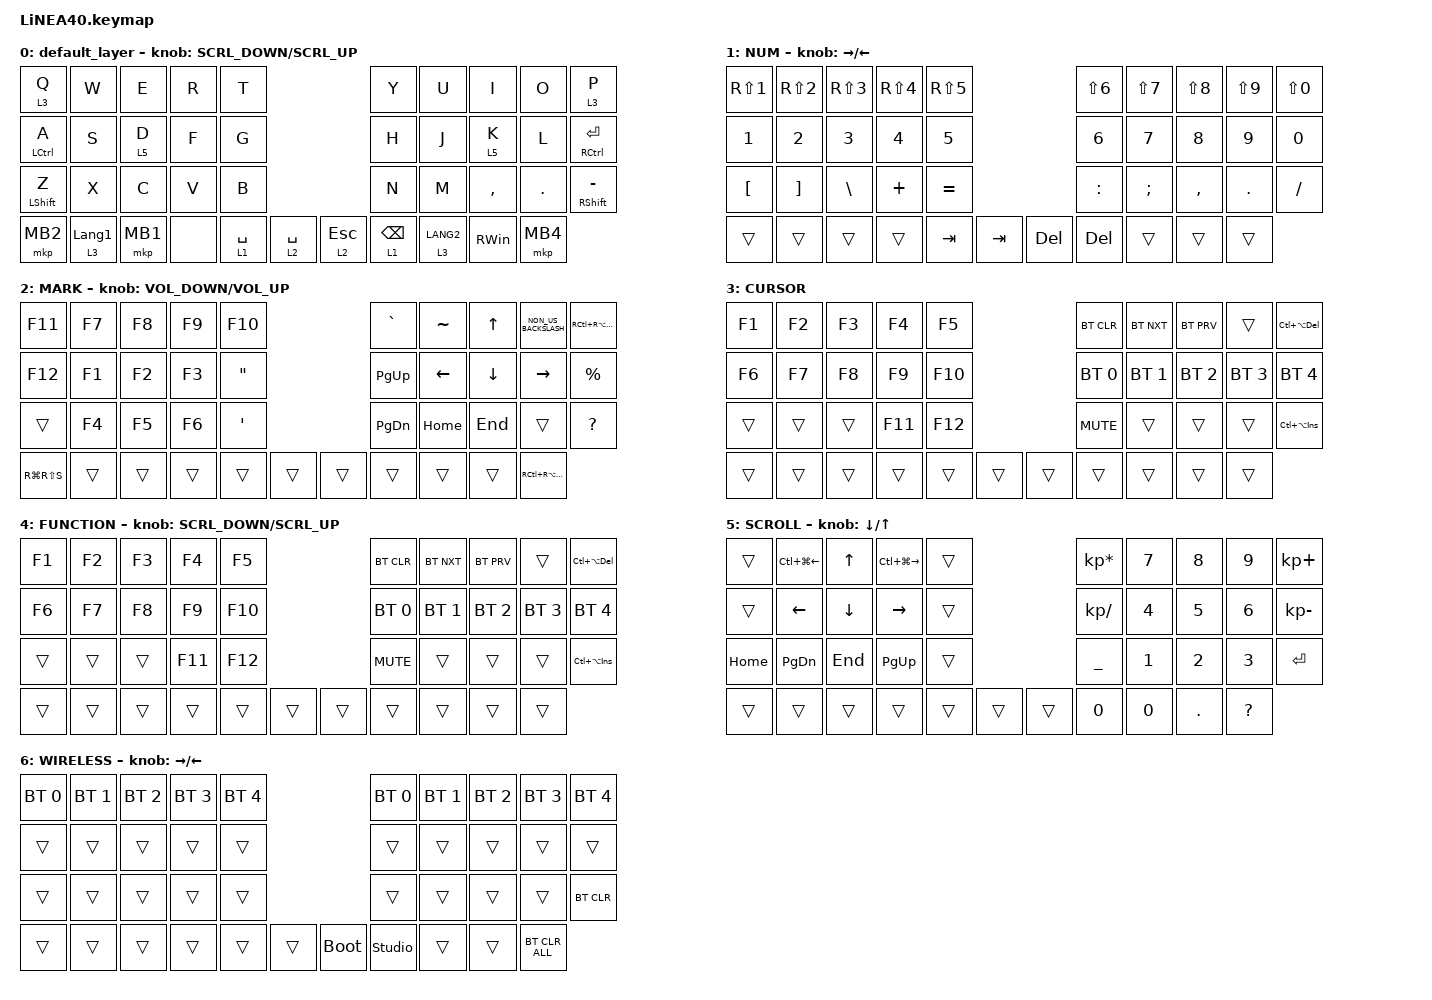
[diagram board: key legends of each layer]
#define ZMK_POINTING_DEFAULT_SCRL_VAL 150

#include <dt-bindings/zmk/input_transform.h>
#include <input/processors.dtsi>
#include <zephyr/dt-bindings/input/input-event-codes.h>
#include <behaviors.dtsi>
#include <dt-bindings/zmk/bt.h>
#include <dt-bindings/zmk/keys.h>
#include <dt-bindings/zmk/pointing.h>

#define NUM 1
#define MARK 2
#define CURSOR 3
#define FUNCTION 4
#define SCROLL 5
#define WIRELESS 6

&mt {
    flavor = "tap-preferred";
    quick-tap-ms = <0>;
    tapping-term-ms = <300>;
};

&lt {
};

//mouse cursol
//mouse scroll

/ {
    input_processors {
        zip_wheel_scaler: zip_wheel_scaler {
            compatible = "zmk,input-processor-scaler";
            #input-processor-cells = <2>;
            type = <INPUT_EV_REL>;
            codes = <INPUT_REL_WHEEL>;
            track-remainders;
        };
    };
};

&msc_input_listener {
    speed_up {
        layers = <FUNCTION>;
        input-processors = <&zip_wheel_scaler 3 1>; //スクロールを3倍速にする
    };
};

&trackball_listener {
    scroller {
        layers = <SCROLL>;
        input-processors =
            <&zip_xy_transform INPUT_TRANSFORM_Y_INVERT>,
            //スクロール方向を逆転,,,,,
            <&zip_xy_to_scroll_mapper>;
    };
};

/ {
    macros {
        to_layer_0: to_layer_0 {
            compatible = "zmk,behavior-macro-one-param";
            #binding-cells = <1>;
            bindings = <&to 0 &macro_param_1to1 &kp MACRO_PLACEHOLDER>;
            label = "TO_LAYER_0";
        };
    };

    behaviors {
        lt_to_layer_0: lt_to_layer_0 {
            compatible = "zmk,behavior-hold-tap";
            label = "LAYER_TAP_TO_0";
            bindings = <&mo>, <&to_layer_0>;

            #binding-cells = <2>;
            tapping-term-ms = <200>;
        };

        re_kp: sensor_rotate_kp {
            compatible = "zmk,behavior-sensor-rotate-var";
            #sensor-binding-cells = <2>;
            bindings = <&kp>, <&kp>;
        };

        mouse_scrl: mouse_wheel_scrl {
            compatible = "zmk,behavior-sensor-rotate-var";
            #sensor-binding-cells = <2>;
            bindings = <&msc>, <&msc>;

            tap-ms = <20>;
        };
    };

    combos {
        compatible = "zmk,combos";

        mb1 {
            bindings = <&mkp MB1>;
            key-positions = <16 17>;
        };

        mb2 {
            bindings = <&mkp MB2>;
            key-positions = <17 18>;
        };

        mb4 {
            bindings = <&mkp MB4>;
            key-positions = <26 27>;
        };

        lang1 {
            bindings = <&kp LANGUAGE_1>;
            key-positions = <14 13>;
        };

        lang2 {
            bindings = <&kp LANGUAGE_2>;
            key-positions = <12 13>;
        };
    };

    keymap {
        compatible = "zmk,keymap";

        default_layer {
            bindings = <
&lt 3 Q           &kp W             &kp E     &kp R  &kp T                                  &kp Y       &kp U  &kp I        &kp O          &lt 3 P
&mt LCTRL A       &kp S             &lt 5 D   &kp F  &kp G                                  &kp H       &kp J  &lt 5 K      &kp L          &mt RCTRL ENTER
&mt LEFT_SHIFT Z  &kp X             &kp C     &kp V  &kp B                                  &kp N       &kp M  &kp COMMA    &kp DOT        &mt RIGHT_SHIFT MINUS
&mkp MB2          &lt 3 LANGUAGE_1  &mkp MB1  &none  &lt 1 SPACE  &lt 2 SPACE    &lt 2 ESC  &lt 1 BSPC         &lt 3 LANG2  &kp RIGHT_WIN  &mkp MB4
            >;

            sensor-bindings = <&mouse_scrl SCRL_DOWN SCRL_UP>;
        };

        //1

        NUM {
            bindings = <
&kp RS(NUMBER_1)  &kp RS(NUMBER_2)   &kp RS(NUMBER_3)  &kp RS(NUMBER_4)  &kp RS(NUMBER_5)                         &kp LS(NUMBER_6)  &kp LS(NUMBER_7)  &kp LS(NUMBER_8)  &kp LS(NUMBER_9)  &kp LS(NUMBER_0)
&kp NUMBER_1      &kp NUMBER_2       &kp NUMBER_3      &kp NUMBER_4      &kp NUMBER_5                             &kp NUMBER_6      &kp NUMBER_7      &kp NUMBER_8      &kp NUMBER_9      &kp NUMBER_0
&kp LEFT_BRACKET  &kp RIGHT_BRACKET  &kp BACKSLASH     &kp PLUS          &kp EQUAL                                &kp COLON         &kp SEMICOLON     &kp COMMA         &kp PERIOD        &kp SLASH
&trans            &trans             &trans            &trans            &kp TAB           &kp TAB    &kp DELETE  &kp DELETE                          &trans            &trans            &trans
            >;

            sensor-bindings = <&inc_dec_kp RIGHT_ARROW LEFT_ARROW>;
        };

        //2

        MARK {
            bindings = <
&kp F11        &kp F7  &kp F8  &kp F9  &kp F10                              &kp GRAVE      &kp TILDE       &kp UP_ARROW    &kp NON_US_BACKSLASH  &kp RC(RA(END))
&kp F12        &kp F1  &kp F2  &kp F3  &kp DOUBLE_QUOTES                    &kp PG_UP      &kp LEFT_ARROW  &kp DOWN_ARROW  &kp RIGHT_ARROW       &kp PERCENT
&trans         &kp F4  &kp F5  &kp F6  &kp SQT                              &kp PAGE_DOWN  &kp HOME        &kp END         &trans                &kp QUESTION
&kp RG(RS(S))  &trans  &trans  &trans  &trans             &trans    &trans  &trans                         &trans          &trans                &kp RC(RA(DELETE))
            >;

            sensor-bindings = <&re_kp C_VOLUME_DOWN C_VOLUME_UP>;
        };

        //3

        CURSOR {
            bindings = <
&kp F1  &kp F2  &kp F3  &kp F4   &kp F5                     &bt BT_CLR    &bt BT_NXT    &bt BT_PRV    &trans        &kp LC(LA(DELETE))
&kp F6  &kp F7  &kp F8  &kp F9   &kp F10                    &bt BT_SEL 0  &bt BT_SEL 1  &bt BT_SEL 2  &bt BT_SEL 3  &bt BT_SEL 4
&trans  &trans  &trans  &kp F11  &kp F12                    &kp C_MUTE    &trans        &trans        &trans        &kp LC(LA(INS))
&trans  &trans  &trans  &trans   &trans   &trans    &trans  &trans                      &trans        &trans        &trans
            >;
        };

        //4

        FUNCTION {
            bindings = <
&kp F1  &kp F2  &kp F3  &kp F4   &kp F5                     &bt BT_CLR    &bt BT_NXT    &bt BT_PRV    &trans        &kp LC(LA(DELETE))
&kp F6  &kp F7  &kp F8  &kp F9   &kp F10                    &bt BT_SEL 0  &bt BT_SEL 1  &bt BT_SEL 2  &bt BT_SEL 3  &bt BT_SEL 4
&trans  &trans  &trans  &kp F11  &kp F12                    &kp C_MUTE    &trans        &trans        &trans        &kp LC(LA(INS))
&trans  &trans  &trans  &trans   &trans   &trans    &trans  &trans                      &trans        &trans        &trans
            >;

            sensor-bindings = <&mouse_scrl SCRL_DOWN SCRL_UP>;
        };

        //5

        SCROLL {
            bindings = <
&trans    &kp LC(LG(LEFT_ARROW))  &kp UP_ARROW  &kp LC(LG(RIGHT_ARROW))  &trans                    &kp KP_MULTIPLY  &kp NUMBER_7  &kp NUMBER_8  &kp NUMBER_9  &kp KP_PLUS
&trans    &kp LEFT_ARROW          &kp DOWN      &kp RIGHT_ARROW          &trans                    &kp KP_SLASH     &kp NUMBER_4  &kp NUMBER_5  &kp NUMBER_6  &kp KP_MINUS
&kp HOME  &kp PAGE_DOWN           &kp END       &kp PAGE_UP              &trans                    &kp UNDER        &kp NUMBER_1  &kp NUMBER_2  &kp NUMBER_3  &kp ENTER
&trans    &trans                  &trans        &trans                   &trans  &trans    &trans  &kp NUMBER_0                   &kp NUMBER_0  &kp DOT       &kp QUESTION
            >;

            sensor-bindings = <&inc_dec_kp DOWN_ARROW UP_ARROW>;
        };

        //6

        WIRELESS {
            bindings = <
&bt BT_SEL 0  &bt BT_SEL 1  &bt BT_SEL 2  &bt BT_SEL 3  &bt BT_SEL 4                         &bt BT_SEL 0    &bt BT_SEL 1  &bt BT_SEL 2  &bt BT_SEL 3  &bt BT_SEL 4
&trans        &trans        &trans        &trans        &trans                               &trans          &trans        &trans        &trans        &trans
&trans        &trans        &trans        &trans        &trans                               &trans          &trans        &trans        &trans        &bt BT_CLR
&trans        &trans        &trans        &trans        &trans        &trans    &bootloader  &studio_unlock                &trans        &trans        &bt BT_CLR_ALL
            >;

            sensor-bindings = <&inc_dec_kp RIGHT_ARROW LEFT_ARROW>;
        };
    };
};
